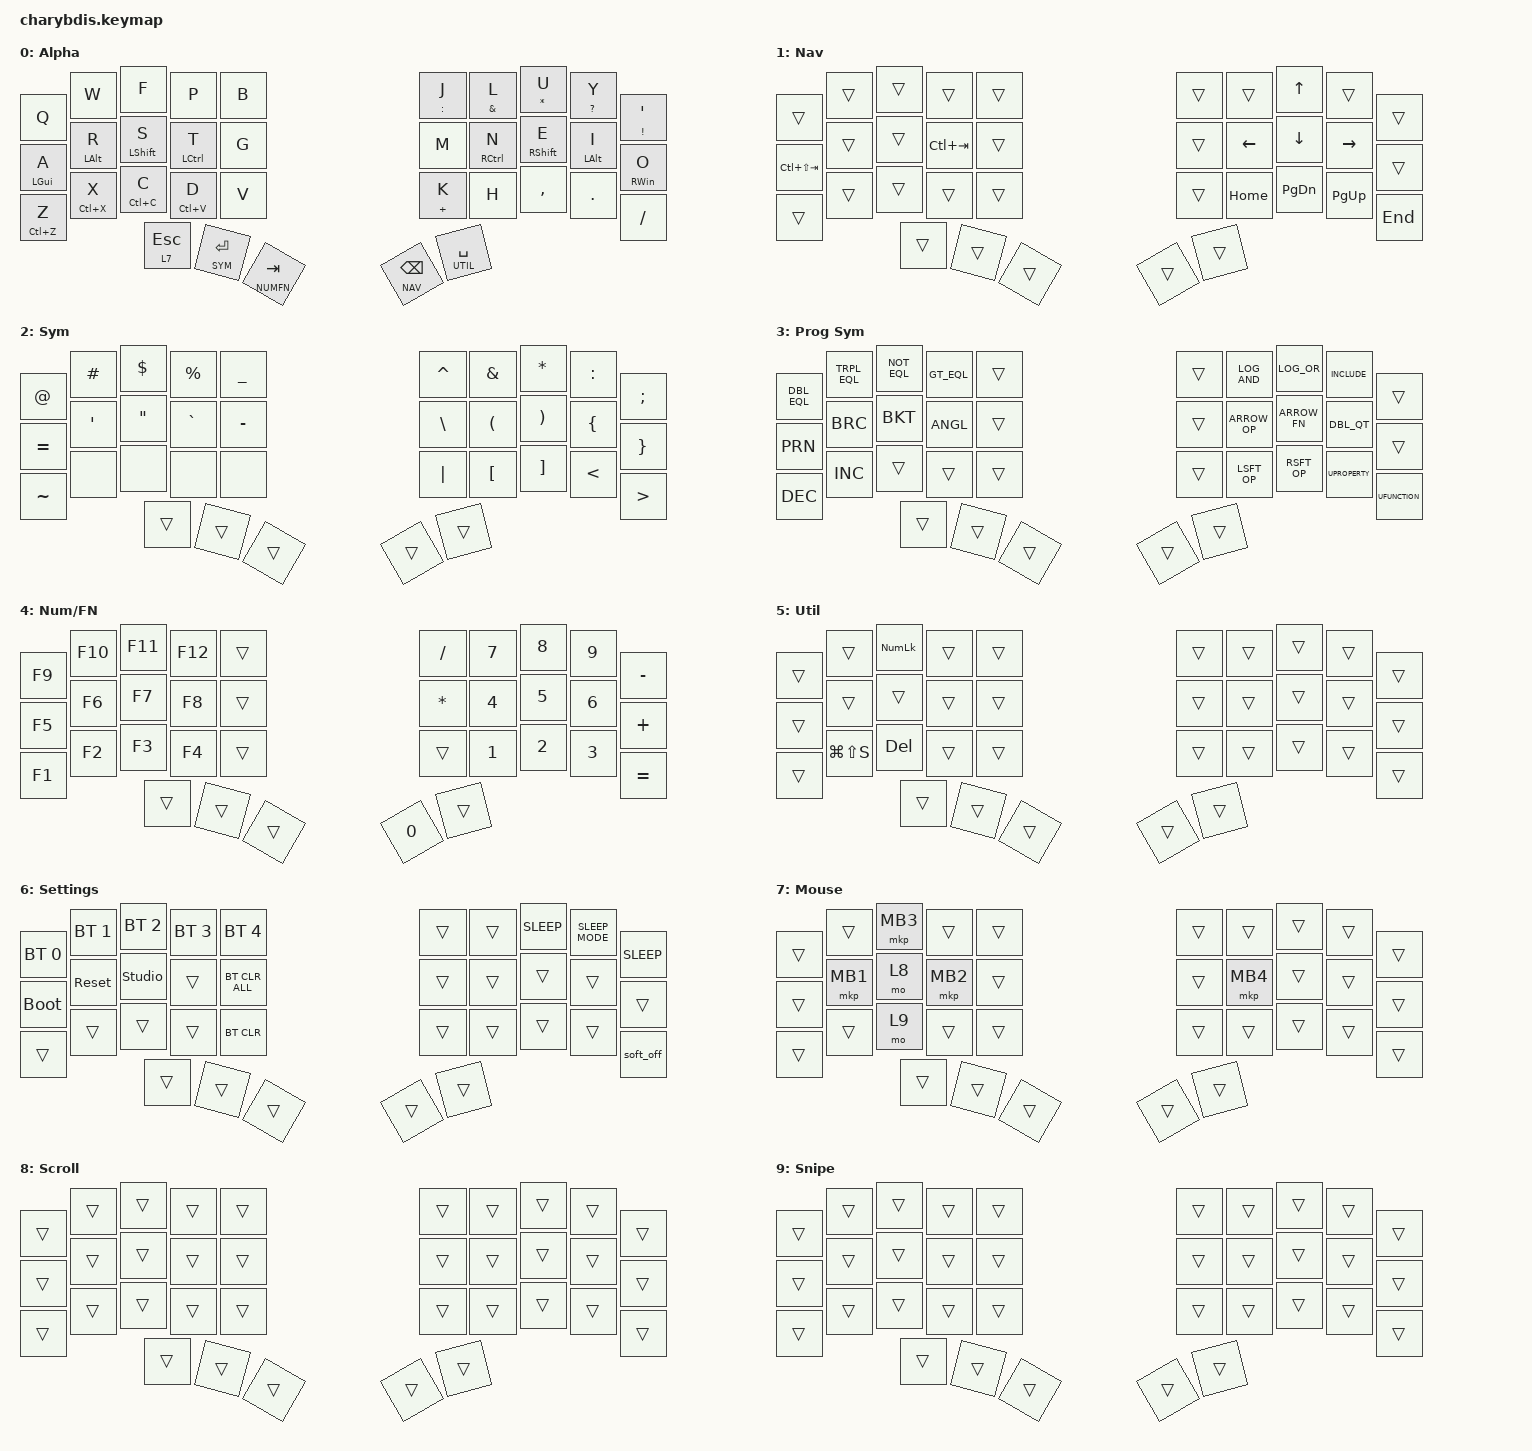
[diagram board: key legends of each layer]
#include "layers.conf"
#include <dt-bindings/zmk/mouse.h>
#include <input/processors.dtsi>
#include <dt-bindings/zmk/input_transform.h>
#include <behaviors.dtsi>
#include <dt-bindings/zmk/bt.h>
#include <dt-bindings/zmk/keys.h>
#include <dt-bindings/zmk/pointing.h>

/ {
    trackball_listener {
        compatible = "zmk,input-listener";
        device = <&trackball_split>;

        snipe {
            layers = <SNIPE>;
            input-processors = <&zip_xy_scaler 1 3>;
        };

        scroll {
            layers = <SCROLL>;
            input-processors =
                <&zip_xy_scaler 1 3>,
                <&zip_xy_to_scroll_mapper>,
                <&zip_scroll_transform (INPUT_TRANSFORM_Y_INVERT)>;
        };
    };

    behaviors {
        hm: homerow_mods {
            compatible = "zmk,behavior-hold-tap";
            #binding-cells = <2>;
            tapping-term-ms = <250>;
            flavor = "tap-preferred";
            bindings = <&kp>, <&kp>;
        };

        kp_sl: behavior_kp_sl {
            compatible = "zmk,behavior-hold-tap";
            #binding-cells = <2>;
            flavor = "hold-preferred";
            tapping-term-ms = <250>;
            bindings = <&sl>, <&kp>;
        };

        ht: behavior_hold_tap_key {
            compatible = "zmk,behavior-hold-tap";
            #binding-cells = <2>;
            flavor = "hold-preferred";
            tapping-term-ms = <250>;
            bindings = <&kp>, <&kp>;
        };
    };

    conditional_layers {
        compatible = "zmk,conditional-layers";

        settings_trigger {
            if-layers = <1 4>;
            then-layer = <6>;
        };
    };

    combos {
        compatible = "zmk,combos";

        KP_Z {
            bindings = <&kp Z>;
            key-positions = <0 1>;
        };

        KP_Q {
            bindings = <&kp Q>;
            key-positions = <1 2>;
        };

        c_bps {
            timeout-ms = <50>;
            key-positions = <12 13>;
            bindings = <&kp BSPC>;
        };

        c_ctrl_bps {
            timeout-ms = <50>;
            key-positions = <16 17>;
            bindings = <&kp LC(BSPC)>;
        };

        c_colon {
            timeout-ms = <50>;
            key-positions = <27 28>;
            bindings = <&kp COLON>;
        };

        c_semicolon {
            timeout-ms = <50>;
            key-positions = <28 29>;
            bindings = <&kp SEMI>;
        };

        c_prog_sym {
            timeout-ms = <50>;
            key-positions = <26 27>;
            bindings = <&sl PROG_SYM>;
        };

        capsword {
            bindings = <&caps_word>;
            key-positions = <12 17>;
        };
    };

    keymap {
        compatible = "zmk,keymap";

        base_layer {
            display-name = "Alpha";
            bindings = <
  &kp Q        &kp W        &kp F        &kp P          &kp B            &ht COLON J        &ht AMPERSAND L  &ht ASTERISK U  &ht QUESTION Y  &ht EXCLAMATION SQT
  &hm LGUI A   &hm LALT R   &hm LSHFT S  &hm LCTRL T    &kp G            &kp M              &hm RCTRL N      &hm RSHFT E     &hm LALT I      &hm RWIN O
  &mt LC(Z) Z  &mt LC(X) X  &mt LC(C) C  &mt LC(V) D    &kp V            &ht PLUS K         &kp H            &kp COMMA       &kp PERIOD      &kp SLASH
                            &lt 7 ESC    &lt SYM ENTER  &lt NUMFN TAB    &lt NAV BACKSPACE  &lt UTIL SPACE
            >;
        };

        nav_layer {
            display-name = "Nav";
            bindings = <
  &trans           &trans  &trans  &trans       &trans    &trans  &trans    &kp UP_ARROW  &trans     &trans
  &kp LC(LS(TAB))  &trans  &trans  &kp LC(TAB)  &trans    &trans  &kp LEFT  &kp DOWN      &kp RIGHT  &trans
  &trans           &trans  &trans  &trans       &trans    &trans  &kp HOME  &kp PG_DN     &kp PG_UP  &kp END
                           &trans  &trans       &trans    &trans  &trans
            >;
        };

        sym_layer {
            display-name = "Sym";
            bindings = <
  &kp AT     &kp HASH  &kp DLLR  &kp PRCNT  &kp UNDER    &kp CARET  &kp AMPS  &kp STAR  &kp COLON  &kp SEMI
  &kp EQUAL  &kp APOS  &kp DQT   &kp GRAVE  &kp MINUS    &kp BSLH   &kp LPAR  &kp RPAR  &kp LBRC   &kp RBRC
  &kp TILDE  &none     &none     &none      &none        &kp PIPE   &kp LBKT  &kp RBKT  &kp LT     &kp GT
                       &trans    &trans     &trans       &trans     &trans
            >;
        };

        prog_sym_layer {
            display-name = "Prog Sym";
            bindings = <
  &DBL_EQL  &TRPL_EQL  &NOT_EQL  &GT_EQL  &trans    &trans  &LOG_AND   &LOG_OR    &INCLUDE    &trans
  &PRN      &BRC       &BKT      &ANGL    &trans    &trans  &ARROW_OP  &ARROW_FN  &DBL_QT     &trans
  &DEC      &INC       &trans    &trans   &trans    &trans  &LSFT_OP   &RSFT_OP   &UPROPERTY  &UFUNCTION
                       &trans    &trans   &trans    &trans  &trans
            >;
        };

        numfn_layer {
            display-name = "Num/FN";
            bindings = <
  &kp F9  &kp F10  &kp F11  &kp F12  &trans    &kp SLASH  &kp N7  &kp N8  &kp N9  &kp MINUS
  &kp F5  &kp F6   &kp F7   &kp F8   &trans    &kp STAR   &kp N4  &kp N5  &kp N6  &kp PLUS
  &kp F1  &kp F2   &kp F3   &kp F4   &trans    &trans     &kp N1  &kp N2  &kp N3  &kp EQUAL
                   &trans   &trans   &trans    &kp N0     &trans
            >;
        };

        util_layer {
            display-name = "Util";
            bindings = <
  &trans  &trans         &kp KP_NUMLOCK  &trans  &trans    &trans  &trans  &trans  &trans  &trans
  &trans  &trans         &trans          &trans  &trans    &trans  &trans  &trans  &trans  &trans
  &trans  &kp LG(LS(S))  &kp DEL         &trans  &trans    &trans  &trans  &trans  &trans  &trans
                         &trans          &trans  &trans    &trans  &trans
            >;
        };

        settings_layer {
            display-name = "Settings";
            bindings = <
  &bt BT_SEL 0  &bt BT_SEL 1  &bt BT_SEL 2    &bt BT_SEL 3  &bt BT_SEL 4      &trans  &trans  &kp K_SLEEP  &kp C_SLEEP_MODE  &kp C_SLEEP
  &bootloader   &sys_reset    &studio_unlock  &trans        &bt BT_CLR_ALL    &trans  &trans  &trans       &trans            &trans
  &trans        &trans        &trans          &trans        &bt BT_CLR        &trans  &trans  &trans       &trans            &soft_off
                              &trans          &trans        &trans            &trans  &trans
            >;
        };

        mouse_layer {
            display-name = "Mouse";
            bindings = <
  &trans  &trans    &mkp MB3  &trans    &trans    &trans  &trans    &trans  &trans  &trans
  &trans  &mkp MB1  &mo 8     &mkp MB2  &trans    &trans  &mkp MB4  &trans  &trans  &trans
  &trans  &trans    &mo 9     &trans    &trans    &trans  &trans    &trans  &trans  &trans
                    &trans    &trans    &trans    &trans  &trans
            >;
        };

        scroll_layer {
            display-name = "Scroll";
            bindings = <
  &trans  &trans  &trans  &trans  &trans    &trans  &trans  &trans  &trans  &trans
  &trans  &trans  &trans  &trans  &trans    &trans  &trans  &trans  &trans  &trans
  &trans  &trans  &trans  &trans  &trans    &trans  &trans  &trans  &trans  &trans
                  &trans  &trans  &trans    &trans  &trans
            >;
        };

        snipe_layer {
            display-name = "Snipe";
            bindings = <
  &trans  &trans  &trans  &trans  &trans    &trans  &trans  &trans  &trans  &trans
  &trans  &trans  &trans  &trans  &trans    &trans  &trans  &trans  &trans  &trans
  &trans  &trans  &trans  &trans  &trans    &trans  &trans  &trans  &trans  &trans
                  &trans  &trans  &trans    &trans  &trans
            >;
        };
    };

    macros {
        LOG_AND: LOG_AND {
            compatible = "zmk,behavior-macro";
            #binding-cells = <0>;
            bindings = <&macro_tap>, <&kp AMPS &kp AMPS>;
        };

        LOG_OR: LOG_OR {
            compatible = "zmk,behavior-macro";
            #binding-cells = <0>;
            bindings = <&macro_tap>, <&kp PIPE &kp PIPE>;
        };

        INCLUDE: INCLUDE {
            compatible = "zmk,behavior-macro";
            #binding-cells = <0>;
            bindings =
                <&macro_tap>,
                <&kp I &kp N &kp C &kp L &kp U &kp D &kp E &kp DQT &kp DQT &kp LEFT>;
        };

        ARROW_OP: ARROW_OP {
            compatible = "zmk,behavior-macro";
            #binding-cells = <0>;
            bindings = <&macro_tap>, <&kp MINUS &kp GT>;
        };

        ARROW_FN: ARROW_FN {
            compatible = "zmk,behavior-macro";
            #binding-cells = <0>;
            bindings = <&macro_tap>, <&kp EQUAL &kp GT>;
        };

        DBL_QT: DBL_QT {
            compatible = "zmk,behavior-macro";
            #binding-cells = <0>;
            bindings = <&macro_tap>, <&kp DQT &kp DQT &kp LEFT>;
        };

        LSFT_OP: LSFT_OP {
            compatible = "zmk,behavior-macro";
            #binding-cells = <0>;
            bindings = <&macro_tap>, <&kp LT &kp LT>;
        };

        RSFT_OP: RSFT_OP {
            compatible = "zmk,behavior-macro";
            #binding-cells = <0>;
            bindings = <&macro_tap>, <&kp GT &kp GT>;
        };

        UPROPERTY: UPROPERTY {
            compatible = "zmk,behavior-macro";
            #binding-cells = <0>;
            bindings =
                <&macro_tap>,
                <&kp LS(U) &kp LS(P) &kp LS(R) &kp LS(O) &kp LS(P) &kp LS(E) &kp LS(R) &kp LS(T) &kp LS(Y) &kp LPAR &kp RPAR &kp LEFT>;
        };

        UFUNCTION: UFUNCTION {
            compatible = "zmk,behavior-macro";
            #binding-cells = <0>;
            bindings =
                <&macro_tap>,
                <&kp LS(U) &kp LS(F) &kp LS(U) &kp LS(N) &kp LS(C) &kp LS(T) &kp LS(I) &kp LS(O) &kp LS(N) &kp LPAR &kp RPAR &kp LEFT>,
                <&macro_press>;
        };

        DBL_EQL: DBL_EQL {
            compatible = "zmk,behavior-macro";
            #binding-cells = <0>;
            bindings = <&macro_tap>, <&kp EQUAL &kp EQUAL>;
        };

        TRPL_EQL: TRPL_EQL {
            compatible = "zmk,behavior-macro";
            #binding-cells = <0>;
            bindings = <&macro_tap>, <&kp EQUAL &kp EQUAL &kp EQUAL>;
        };

        NOT_EQL: NOT_EQL {
            compatible = "zmk,behavior-macro";
            #binding-cells = <0>;
            bindings = <&macro_tap>, <&kp EXCL &kp EQUAL>;
        };

        GT_EQL: GT_EQL {
            compatible = "zmk,behavior-macro";
            #binding-cells = <0>;
            bindings = <&macro_tap>, <&kp GT &kp EQUAL>;
        };

        LT_EQL: LT_EQL {
            compatible = "zmk,behavior-macro";
            #binding-cells = <0>;
            bindings = <&macro_tap>, <&kp LT &kp EQUAL>;
        };

        PRN: PRN {
            compatible = "zmk,behavior-macro";
            #binding-cells = <0>;
            bindings = <&macro_tap>, <&kp LPAR &kp RPAR &kp LEFT>;
        };

        BRC: BRC {
            compatible = "zmk,behavior-macro";
            #binding-cells = <0>;
            bindings = <&macro_tap>, <&kp LBRC &kp RBRC &kp LEFT>;
        };

        BKT: BKT {
            compatible = "zmk,behavior-macro";
            #binding-cells = <0>;
            bindings = <&macro_tap>, <&kp LBKT &kp RBKT &kp LEFT>;
        };

        ANGL: ANGL {
            compatible = "zmk,behavior-macro";
            #binding-cells = <0>;
            bindings = <&macro_tap>, <&kp LT &kp GT &kp LEFT>;
        };

        INC: INC {
            compatible = "zmk,behavior-macro";
            #binding-cells = <0>;
            bindings = <&macro_tap>, <&kp PLUS &kp PLUS>;
        };

        DEC: DEC {
            compatible = "zmk,behavior-macro";
            #binding-cells = <0>;
            bindings = <&macro_tap>, <&kp MINUS &kp MINUS>;
        };
    };
};
